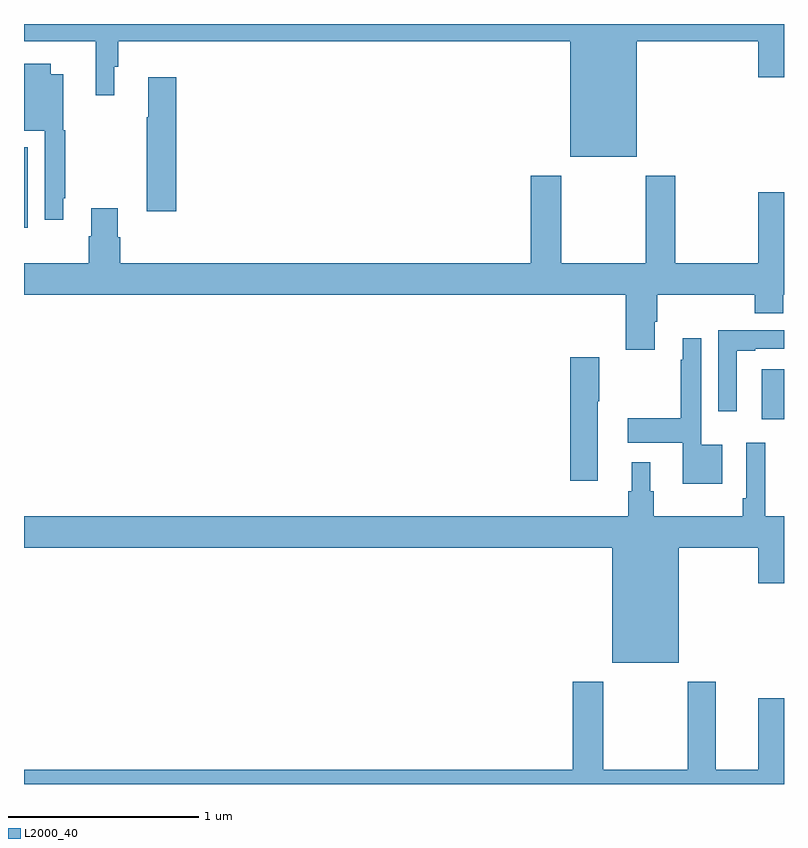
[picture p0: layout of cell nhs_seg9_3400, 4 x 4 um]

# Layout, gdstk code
import gdstk
lib = gdstk.Library(unit=1e-6, precision=1e-09)
def R(c, l, rs):  # rectangles x0, y0, x1, y1
    for r in rs: c.add(gdstk.rectangle(r[:2], r[2:], *l))
def P(c, l, *ps):  # polygons
    for p in ps: c.add(gdstk.Polygon(p, *l))
L2000_40 = (2000, 40)

nhs_seg9_3400 = lib.new_cell('nhs_seg9_3400')
R(nhs_seg9_3400, L2000_40, [(308.882,1206.419,309,1206.682), (305,1207.428,305.019,1207.852)])
P(nhs_seg9_3400, L2000_40, [(308.224,1208.408),(308.864,1208.408),(308.864,1208.22),(309,1208.22),(309,1208.5),(305,1208.5),(305,1208.408),(305.377,1208.408),(305.377,1208.124),(305.476,1208.124),(305.476,1208.274),(305.495,1208.274),(305.495,1208.408),(307.874,1208.408),(307.874,1207.802),(308.224,1207.802)],
  [(305.206,1207.582),(305.218,1207.582),(305.218,1207.941),(305.206,1207.941),(305.206,1208.236),(305.14,1208.236),(305.14,1208.29),(305,1208.29),(305,1207.937),(305.109,1207.937),(305.109,1207.47),(305.206,1207.47)],
  [(305.801,1208.221),(305.654,1208.221),(305.654,1208.008),(305.647,1208.008),(305.647,1207.515),(305.801,1207.515)],
  [(308.32,1206.934),(308.333,1206.934),(308.333,1207.076),(308.846,1207.076),(308.846,1206.978),(308.997,1206.978),(308.997,1207.076),(309,1207.076),(309,1207.615),(308.864,1207.615),(308.864,1207.24),(308.427,1207.24),(308.427,1207.702),(308.272,1207.702),(308.272,1207.24),(307.827,1207.24),(307.827,1207.702),(307.667,1207.702),(307.667,1207.24),(305.507,1207.24),(305.507,1207.377),(305.494,1207.377),(305.494,1207.531),(305.354,1207.531),(305.354,1207.382),(305.342,1207.382),(305.342,1207.24),(305,1207.24),(305,1207.076),(308.168,1207.076),(308.168,1206.786),(308.32,1206.786)],
  [(308.752,1206.78),(308.848,1206.78),(308.848,1206.792),(309,1206.792),(309,1206.888),(308.655,1206.888),(308.655,1206.462),(308.752,1206.462)],
  [(308.674,1206.286),(308.565,1206.286),(308.565,1206.847),(308.468,1206.847),(308.468,1206.734),(308.457,1206.734),(308.457,1206.426),(308.178,1206.426),(308.178,1206.296),(308.468,1206.296),(308.468,1206.08),(308.674,1206.08)],
  [(308.02,1206.514),(308.028,1206.514),(308.028,1206.745),(307.874,1206.745),(307.874,1206.096),(308.02,1206.096)],
  [(308.296,1206.042),(308.296,1206.193),(308.198,1206.193),(308.198,1206.042),(308.179,1206.042),(308.179,1205.908),(305,1205.908),(305,1205.744),(308.096,1205.744),(308.096,1205.138),(308.446,1205.138),(308.446,1205.744),(308.864,1205.744),(308.864,1205.556),(309,1205.556),(309,1205.908),(308.9,1205.908),(308.9,1206.295),(308.802,1206.295),(308.802,1206.004),(308.782,1206.004),(308.782,1205.908),(308.315,1205.908),(308.315,1206.042)],
  [(305,1204.5),(309,1204.5),(309,1204.951),(308.864,1204.951),(308.864,1204.576),(308.641,1204.576),(308.641,1205.038),(308.494,1205.038),(308.494,1204.576),(308.049,1204.576),(308.049,1205.038),(307.889,1205.038),(307.889,1204.576),(305,1204.576)])

lib.write_gds('nhs_seg9_3400.gds')
